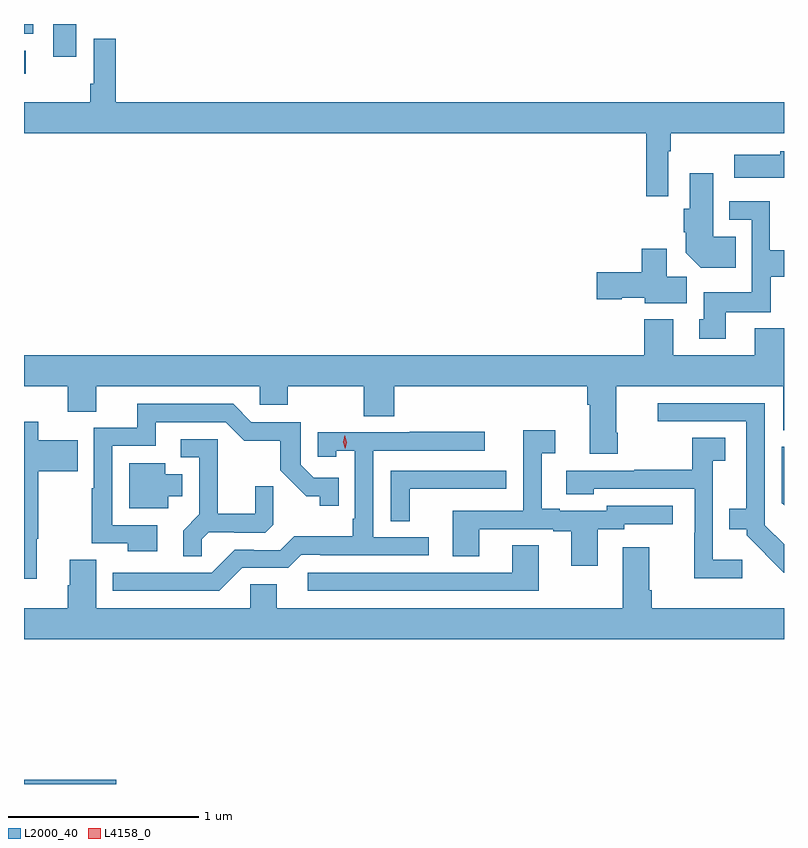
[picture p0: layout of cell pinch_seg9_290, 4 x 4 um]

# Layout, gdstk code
import gdstk
lib = gdstk.Library(unit=1e-6, precision=1e-09)
def R(c, l, rs):  # rectangles x0, y0, x1, y1
    for r in rs: c.add(gdstk.rectangle(r[:2], r[2:], *l))
def P(c, l, *ps):  # polygons
    for p in ps: c.add(gdstk.Polygon(p, *l))
L2000_40 = (2000, 40)
L4158_0 = (4158, 0)

pinch_seg9_290 = lib.new_cell('pinch_seg9_290')
R(pinch_seg9_290, L2000_40, [(503.536,1198.323,504.022,1198.346), (503.536,1202.06,503.545,1202.182), (503.69,1202.151,503.812,1202.323), (503.536,1202.271,503.584,1202.323)])
P(pinch_seg9_290, L2000_40, [(506.928,1201.652),(506.941,1201.652),(506.941,1201.748),(507.536,1201.748),(507.536,1201.912),(504.02,1201.912),(504.02,1202.245),(503.904,1202.245),(503.904,1202.008),(503.884,1202.008),(503.884,1201.912),(503.536,1201.912),(503.536,1201.748),(506.812,1201.748),(506.812,1201.416),(506.928,1201.416)],
  [(507.536,1201.654),(507.516,1201.654),(507.516,1201.636),(507.273,1201.636),(507.273,1201.514),(507.536,1201.514)],
  [(507.281,1201.204),(507.163,1201.204),(507.163,1201.537),(507.041,1201.537),(507.041,1201.35),(507.008,1201.35),(507.008,1201.228),(507.02,1201.228),(507.02,1201.118),(507.098,1201.04),(507.281,1201.04)],
  [(507.229,1200.806),(507.465,1200.806),(507.465,1200.992),(507.536,1200.992),(507.536,1201.132),(507.462,1201.132),(507.462,1201.389),(507.249,1201.389),(507.249,1201.293),(507.366,1201.293),(507.366,1200.91),(507.113,1200.91),(507.113,1200.768),(507.089,1200.768),(507.089,1200.666),(507.229,1200.666)],
  [(507.025,1200.992),(506.92,1200.992),(506.92,1201.141),(506.786,1201.141),(506.786,1201.016),(506.55,1201.016),(506.55,1200.874),(506.682,1200.874),(506.682,1200.881),(506.802,1200.881),(506.802,1200.854),(507.025,1200.854)],
  [(506.661,1200.172),(506.653,1200.172),(506.653,1200.416),(507.533,1200.416),(507.533,1200.184),(507.536,1200.184),(507.536,1200.721),(507.383,1200.721),(507.383,1200.58),(506.953,1200.58),(506.953,1200.769),(506.801,1200.769),(506.801,1200.58),(503.536,1200.58),(503.536,1200.416),(503.765,1200.416),(503.765,1200.283),(503.917,1200.283),(503.917,1200.416),(504.777,1200.416),(504.777,1200.318),(504.924,1200.318),(504.924,1200.416),(505.324,1200.416),(505.324,1200.259),(505.484,1200.259),(505.484,1200.416),(506.501,1200.416),(506.501,1200.32),(506.513,1200.32),(506.513,1200.06),(506.661,1200.06)],
  [(507.536,1199.584),(507.435,1199.685),(507.435,1200.327),(506.871,1200.327),(506.871,1200.231),(507.338,1200.231),(507.338,1199.773),(507.247,1199.773),(507.247,1199.663),(507.339,1199.663),(507.339,1199.631),(507.534,1199.436),(507.536,1199.436)],
  [(504.238,1199.685),(504,1199.685),(504,1200.102),(504.229,1200.102),(504.229,1200.228),(504.597,1200.228),(504.696,1200.13),(504.885,1200.13),(504.885,1199.974),(505.022,1199.837),(505.092,1199.837),(505.092,1199.787),(505.193,1199.787),(505.193,1199.934),(505.062,1199.934),(504.993,1200.003),(504.993,1200.228),(504.732,1200.228),(504.636,1200.324),(504.131,1200.324),(504.131,1200.198),(503.904,1200.198),(503.904,1199.879),(503.892,1199.879),(503.892,1199.589),(504.082,1199.589),(504.082,1199.549),(504.238,1199.549)],
  [(503.602,1199.615),(503.61,1199.615),(503.61,1199.968),(503.819,1199.968),(503.819,1200.133),(503.61,1200.133),(503.61,1200.229),(503.536,1200.229),(503.536,1199.403),(503.602,1199.403)],
  [(506.557,1199.664),(506.694,1199.664),(506.694,1199.691),(506.95,1199.691),(506.95,1199.787),(506.604,1199.787),(506.604,1199.76),(506.356,1199.76),(506.356,1199.773),(506.26,1199.773),(506.26,1200.064),(506.332,1200.064),(506.332,1200.184),(506.163,1200.184),(506.163,1199.76),(505.793,1199.76),(505.793,1199.521),(505.933,1199.521),(505.933,1199.664),(506.321,1199.664),(506.321,1199.652),(506.417,1199.652),(506.417,1199.472),(506.557,1199.472)],
  [(504.684,1199.46),(504.927,1199.46),(504.996,1199.529),(505.096,1199.529),(505.096,1199.526),(505.666,1199.526),(505.666,1199.622),(505.374,1199.622),(505.374,1200.078),(505.96,1200.078),(505.96,1200.177),(505.567,1200.177),(505.567,1200.174),(505.083,1200.174),(505.083,1200.045),(505.179,1200.045),(505.179,1200.077),(505.278,1200.077),(505.278,1199.719),(505.266,1199.719),(505.266,1199.626),(504.958,1199.626),(504.885,1199.553),(504.746,1199.553),(504.746,1199.556),(504.645,1199.556),(504.525,1199.436),(504.002,1199.436),(504.002,1199.34),(504.564,1199.34)],
  [(507.316,1199.503),(507.162,1199.503),(507.162,1200.025),(507.226,1200.025),(507.226,1200.146),(507.054,1200.146),(507.054,1199.976),(506.749,1199.976),(506.749,1199.973),(506.391,1199.973),(506.391,1199.849),(506.535,1199.849),(506.535,1199.877),(507.066,1199.877),(507.066,1199.645),(507.064,1199.645),(507.064,1199.405),(507.316,1199.405)],
  [(504.471,1199.612),(504.508,1199.649),(504.642,1199.649),(504.642,1199.646),(504.807,1199.646),(504.848,1199.687),(504.848,1199.889),(504.754,1199.889),(504.754,1199.746),(504.557,1199.746),(504.557,1200.138),(504.36,1200.138),(504.36,1200.042),(504.459,1200.042),(504.459,1199.743),(504.373,1199.657),(504.373,1199.521),(504.471,1199.521)],
  [(507.536,1200.099),(507.525,1200.099),(507.525,1199.801),(507.536,1199.79)],
  [(504.295,1199.837),(504.37,1199.837),(504.37,1199.953),(504.28,1199.953),(504.28,1200.01),(504.089,1200.01),(504.089,1199.774),(504.295,1199.774)],
  [(505.566,1199.877),(505.961,1199.877),(505.961,1199.878),(506.074,1199.878),(506.074,1199.973),(505.467,1199.973),(505.467,1199.707),(505.566,1199.707)],
  [(506.245,1199.579),(506.105,1199.579),(506.105,1199.436),(505.029,1199.436),(505.029,1199.34),(506.245,1199.34)],
  [(506.827,1199.344),(506.827,1199.569),(506.687,1199.569),(506.687,1199.248),(504.865,1199.248),(504.865,1199.375),(504.726,1199.375),(504.726,1199.248),(503.917,1199.248),(503.917,1199.504),(503.777,1199.504),(503.777,1199.37),(503.765,1199.37),(503.765,1199.248),(503.536,1199.248),(503.536,1199.084),(507.536,1199.084),(507.536,1199.248),(506.84,1199.248),(506.84,1199.344)])
P(pinch_seg9_290, L4158_0, [(505.226,1200.087),(505.226,1200.087),(505.215,1200.122),(505.224,1200.159),(505.225,1200.159),(505.225,1200.159),(505.235,1200.123),(505.226,1200.087)])

lib.write_gds('pinch_seg9_290.gds')
